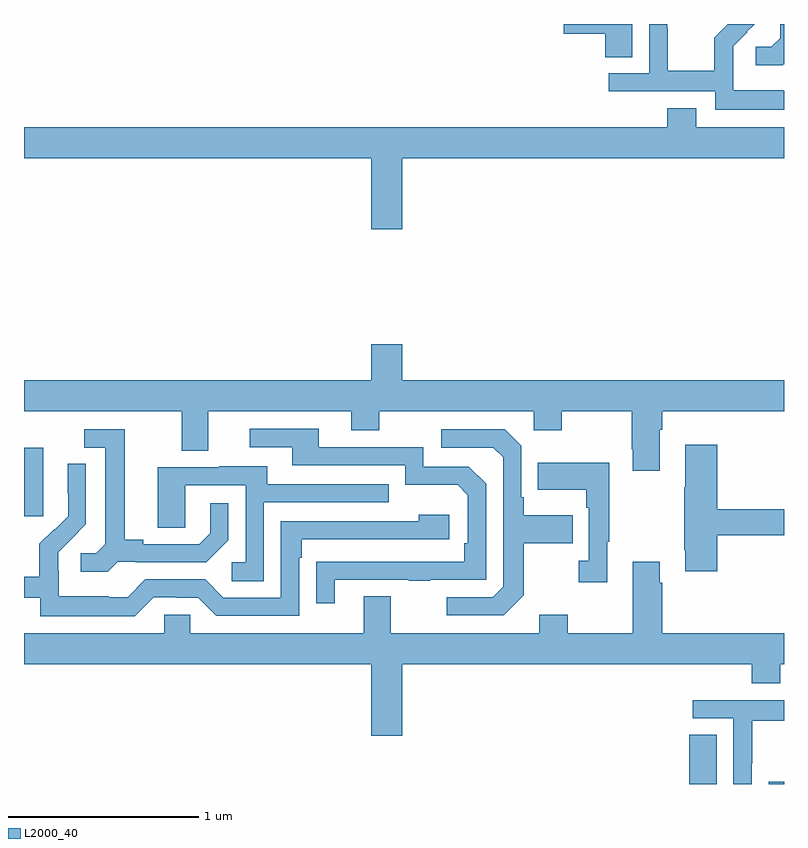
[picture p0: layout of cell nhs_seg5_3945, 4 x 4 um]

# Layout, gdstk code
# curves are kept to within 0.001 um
import gdstk
lib = gdstk.Library(unit=1e-6, precision=1e-09)
def R(c, l, rs):  # rectangles x0, y0, x1, y1
    for r in rs: c.add(gdstk.rectangle(r[:2], r[2:], *l))
def P(c, l, *ps):  # polygons
    for p in ps: c.add(gdstk.Polygon(p, *l))
L2000_40 = (2000, 40)

nhs_seg5_3945 = lib.new_cell('nhs_seg5_3945')
R(nhs_seg5_3945, L2000_40, [(346.502,854.799,346.645,855.059), (346.919,854.799,347,854.811), (343,856.209,343.102,856.57)])
P(nhs_seg5_3945, L2000_40, [(346.201,858.799),(345.84,858.799),(345.84,858.749),(346.058,858.749),(346.058,858.625),(346.201,858.625)],
  [(347,858.587),(347,858.799),(346.979,858.799),(346.979,858.725),(346.932,858.678),(346.851,858.678),(346.851,858.581),(346.994,858.581)],
  [(347,858.447),(346.997,858.447),(346.997,858.451),(346.734,858.451),(346.734,858.585),(346.732,858.585),(346.732,858.682),(346.847,858.799),(346.705,858.799),(346.633,858.727),(346.633,858.553),(346.389,858.553),(346.389,858.776),(346.386,858.776),(346.386,858.799),(346.29,858.799),(346.29,858.54),(346.077,858.54),(346.077,858.444),(346.638,858.444),(346.638,858.347),(347,858.347)],
  [(344.992,858.092),(347,858.092),(347,858.256),(346.537,858.256),(346.537,858.355),(346.385,858.355),(346.385,858.256),(343,858.256),(343,858.092),(344.828,858.092),(344.828,857.718),(344.992,857.718)],
  [(346.345,856.664),(346.358,856.664),(346.358,856.76),(347,856.76),(347,856.924),(344.992,856.924),(344.992,857.113),(344.828,857.113),(344.828,856.924),(343,856.924),(343,856.76),(343.829,856.76),(343.829,856.552),(343.969,856.552),(343.969,856.76),(344.723,856.76),(344.723,856.661),(344.871,856.661),(344.871,856.76),(345.684,856.76),(345.684,856.661),(345.831,856.661),(345.831,856.76),(346.198,856.76),(346.198,856.561),(346.205,856.561),(346.205,856.449),(346.345,856.449)],
  [(344.635,855.873),(345.025,855.873),(345.025,855.868),(345.137,855.868),(345.137,855.873),(345.432,855.873),(345.432,856.38),(345.342,856.47),(345.102,856.47),(345.102,856.572),(344.551,856.572),(344.551,856.668),(344.187,856.668),(344.187,856.572),(344.411,856.572),(344.411,856.476),(345.006,856.476),(345.006,856.373),(345.283,856.373),(345.336,856.32),(345.336,856.066),(345.316,856.066),(345.316,855.969),(344.539,855.968),(344.539,855.75),(344.635,855.75)],
  [(343.494,855.969),(343.588,855.969),(343.588,855.966),(343.96,855.966),(344.076,856.082),(344.076,856.276),(343.979,856.276),(343.979,856.119),(343.922,856.062),(343.627,856.062),(343.627,856.085),(343.531,856.085),(343.531,856.665),(343.317,856.665),(343.317,856.569),(343.427,856.569),(343.427,856.061),(343.38,856.014),(343.299,856.014),(343.299,855.917),(343.442,855.917)],
  [(345.631,855.793),(345.631,856.066),(345.887,856.066),(345.887,856.213),(345.631,856.213),(345.631,856.309),(345.618,856.309),(345.618,856.578),(345.531,856.665),(345.195,856.665),(345.195,856.569),(345.471,856.569),(345.522,856.518),(345.522,855.837),(345.468,855.783),(345.225,855.783),(345.225,855.687),(345.525,855.687)],
  [(346.649,856.108),(347,856.108),(347,856.244),(346.649,856.244),(346.649,856.585),(346.481,856.585),(346.481,856.361),(346.474,856.361),(346.474,856.03),(346.481,856.03),(346.481,855.918),(346.649,855.918)],
  [(346.069,856.073),(346.081,856.073),(346.081,856.489),(345.703,856.489),(345.703,856.349),(345.96,856.349),(345.96,856.253),(345.972,856.253),(345.972,855.974),(345.921,855.974),(345.921,855.861),(346.069,855.861)],
  [(343.683,855.783),(343.799,855.783),(343.799,855.78),(343.917,855.78),(344.013,855.684),(344.448,855.684),(344.448,855.989),(344.461,855.989),(344.461,856.086),(345.238,856.086),(345.238,856.216),(345.077,856.216),(345.077,856.182),(344.352,856.182),(344.352,855.78),(344.049,855.78),(343.953,855.876),(343.638,855.876),(343.545,855.783),(343.445,855.783),(343.445,855.787),(343.182,855.787),(343.182,855.921),(343.18,855.921),(343.18,856.018),(343.326,856.166),(343.326,856.484),(343.23,856.484),(343.23,856.33),(343.232,856.33),(343.232,856.208),(343.161,856.137),(343.158,856.14),(343.081,856.063),(343.081,855.889),(343,855.889),(343,855.78),(343.086,855.78),(343.086,855.683),(343.583,855.683)],
  [(344.262,856.281),(344.921,856.281),(344.921,856.377),(344.281,856.377),(344.281,856.471),(344.027,856.471),(344.027,856.467),(343.703,856.467),(343.703,856.147),(343.848,856.147),(343.848,856.371),(344.166,856.371),(344.166,855.966),(344.094,855.966),(344.094,855.865),(344.262,855.865)],
  [(344.992,855.428),(346.829,855.428),(346.829,855.329),(346.981,855.329),(346.981,855.428),(347,855.428),(347,855.592),(346.358,855.592),(346.358,855.857),(346.345,855.857),(346.345,855.97),(346.205,855.97),(346.205,855.592),(345.861,855.592),(345.861,855.691),(345.713,855.691),(345.713,855.592),(344.929,855.592),(344.929,855.787),(344.789,855.787),(344.789,855.592),(343.875,855.592),(343.875,855.69),(343.737,855.69),(343.737,855.592),(343,855.592),(343,855.428),(344.828,855.428),(344.828,855.054),(344.992,855.054)],
  [(346.83,854.908),(346.833,854.908),(346.833,855.132),(347,855.132),(347,855.24),(346.521,855.24),(346.521,855.144),(346.734,855.144),(346.734,854.799),(346.83,854.799)])

lib.write_gds('nhs_seg5_3945.gds')
